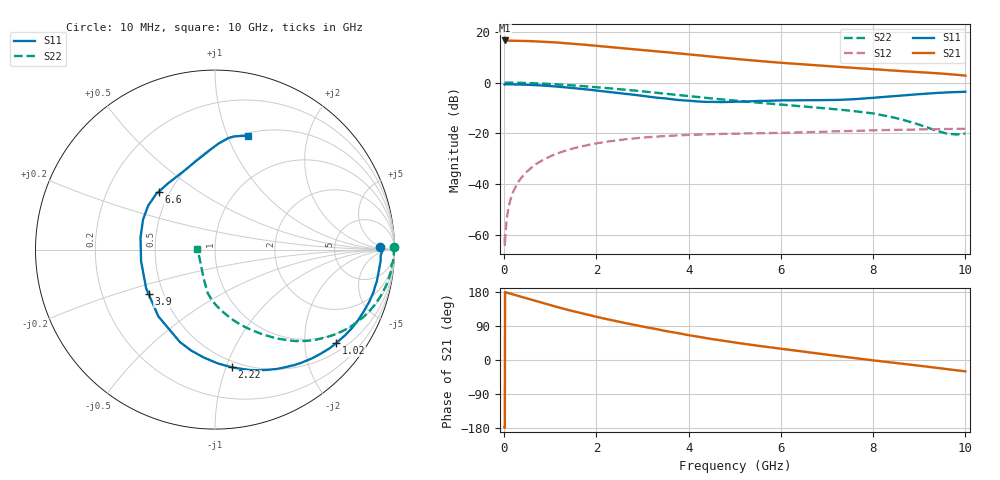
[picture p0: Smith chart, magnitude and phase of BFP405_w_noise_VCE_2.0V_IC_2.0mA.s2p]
! Infineon Technologies  Discrete & RF Semiconductors
! BFP405
! VCE =  2.0 V,  IC =  2.0 mA
! Common Emitter S-Parameters:  Jan 2016
# GHz  S  MA  R  50
!  f  S11  S21  S12  S22
! GHz  MAG  ANG  MAG  ANG  MAG  ANG  MAG  ANG
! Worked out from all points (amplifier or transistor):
!   233 points, 10 MHz to 10 GHz, reference 50 ohm
!   highest |S21| = 16.6 dB at 10 MHz (marker M1)
!   |S21| within 3 dB of that: start of sweep to 2.536 GHz
!   unconditionally stable (mu >= 1): 4.363 GHz to end of sweep
!   at 200 MHz: K = 0.03, MSG = 29.7 dB, |S12| = -42.9 dB
!   at 1.74 GHz: K = 0.32, MSG = 19.9 dB, |S12| = -24.9 dB
!   at 10 GHz: K = 1.71, MAG = 5.6 dB, |S12| = -18.2 dB
!   lowest NFmin = 0.86 dB at 900 MHz
!   S11 on the Smith chart (normalised r, x): 10 MHz: 23, +4; 1.02 GHz: 0.72, -2.75; 2.22 GHz: 0.45, -1.05; 3.9 GHz: 0.41, -0.26; 6.6 GHz: 0.44, +0.35; 10 GHz: 0.53, +1.18
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0.01  0.9177 0.8  6.756 -177.3  0.0009 7.3  1 0.8
0.015  0.925 0.2  6.704 -179.1  0.0006 41.5  0.9967 0.5
0.02  0.9324 -0.4  6.659 179.0  0.0007 87.9  0.9935 0.1
0.055  0.9239 -2.2  6.647 178.2  0.002 87.6  0.9967 -0.8
0.11  0.9247 -4.1  6.683 175.8  0.004 88.1  0.9967 -2.1
0.3  0.9189 -11.1  6.668 169.4  0.0108 84.5  0.9923 -5.9
0.5  0.9075 -18.6  6.606 162.2  0.0179 80.6  0.9806 -9.8
0.68  0.8914 -25.2  6.491 155.9  0.0243 76.9  0.9685 -13.3
1.02  0.8525 -37.8  6.264 144.0  0.0359 70.0  0.9375 -19.8
1.38  0.8002 -51.0  5.938 132.3  0.0471 62.8  0.8949 -26.2
1.68  0.7513 -62.0  5.639 123.2  0.0556 57.1  0.8553 -31.2
2.22  0.6624 -81.8  5.089 108.0  0.0684 47.8  0.7807 -39.1
2.86  0.5688 -105.5  4.5 91.8  0.0803 37.9  0.6915 -47.5
3.4  0.4956 -126.0  4.05 79.0  0.0875 30.5  0.6166 -53.9
3.9  0.4453 -146.2  3.668 67.9  0.0924 24.5  0.5525 -59.6
4.5  0.4169 -171.1  3.254 55.3  0.0966 18.2  0.4864 -66.2
5.1  0.4209 168.3  2.88 44.4  0.0991 13.1  0.4331 -72.2
6.6  0.4499 134.2  2.25 20.4  0.1056 4.4  0.3329 -85.3
6.8  0.4497 129.7  2.181 17.2  0.1068 3.3  0.3208 -87.1
8.4  0.5374 95.8  1.734 -6.6  0.1168 -6.1  0.2097 -104.4
9.6  0.6399 80.3  1.478 -24.1  0.1218 -12.9  0.099 -150.2
10  0.6604 74.0  1.372 -30.0  0.1233 -14.7  0.0993 177.0
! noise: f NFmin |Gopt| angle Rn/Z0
0.9  0.86  0.58  15  0.42
1.8  1.21  0.46  27  0.37
2.4  1.43  0.38  38  0.36
3  1.47  0.38  52  0.33
4  1.69  0.25  80  0.26
5  2.05  0.21  114  0.21
